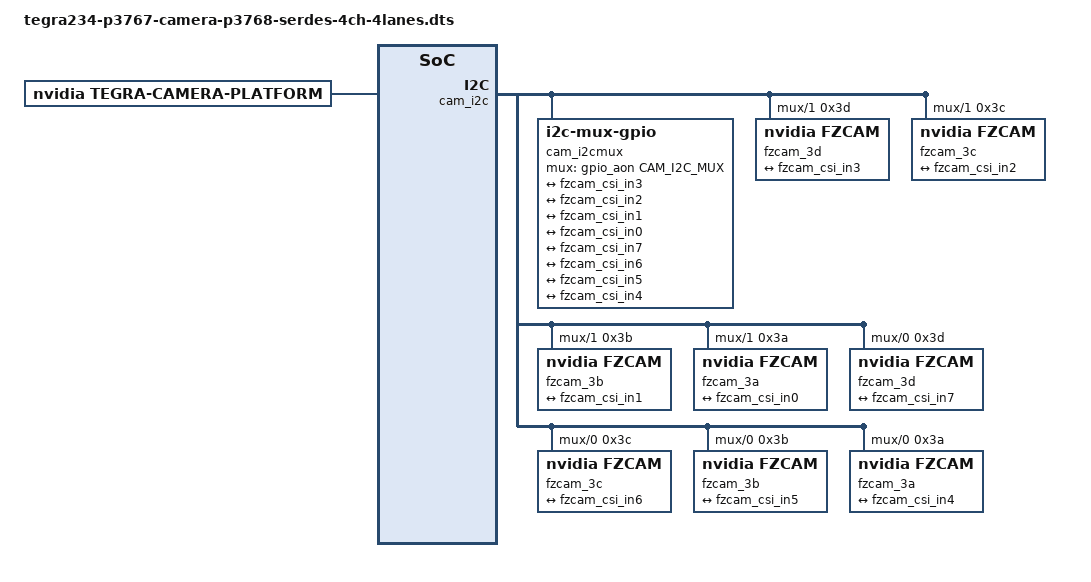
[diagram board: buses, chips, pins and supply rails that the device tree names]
// SPDX-License-Identifier: GPL-2.0-only
// SPDX-FileCopyrightText: Copyright (c) 2023-2024, NVIDIA CORPORATION & AFFILIATES. All rights reserved.

/dts-v1/;
/plugin/;

#include <dt-bindings/clock/tegra234-clock.h>
#include <dt-bindings/gpio/tegra234-gpio.h>
#include <dt-bindings/tegra234-p3767-0000-common.h>

#define CAM0_SYNC	TEGRA234_MAIN_GPIO(H, 6)
#define CAM1_SYNC	TEGRA234_MAIN_GPIO(AC, 0)
#define CAM_I2C_MUX 	TEGRA234_AON_GPIO(CC, 3)

/ {
	overlay-name = "Camera FG-4CH-4Lanes-YUV";
	jetson-header-name = "Jetson 22pin CSI Connector";
	compatible = JETSON_COMPATIBLE_P3768;

	fragment@0 {
		target-path = "/";
		__overlay__ {
			tegra-capture-vi  {
				num-channels = <8>;
				ports {
					#address-cells = <1>;
					#size-cells = <0>;
					vi_port0: port@0 {
						reg = <0>;
						fzcam_vi_in0: endpoint {
							vc-id = <0>;
							port-index = <2>;
							bus-width = <4>;
							remote-endpoint = <&fzcam_csi_out0>;
						};
					};
					vi_port1: port@1 {
						reg = <1>;
						fzcam_vi_in1: endpoint {
							vc-id = <1>;
							port-index = <2>;
							bus-width = <4>;
							remote-endpoint = <&fzcam_csi_out1>;
						};
					};
					vi_port2: port@2 {
						reg = <2>;
						fzcam_vi_in2: endpoint {
							vc-id = <2>;
							port-index = <2>;
							bus-width = <4>;
							remote-endpoint = <&fzcam_csi_out2>;
						};
					};
					vi_port3: port@3 {
						reg = <3>;
						fzcam_vi_in3: endpoint {
							vc-id = <3>;
							port-index = <2>;
							bus-width = <4>;
							remote-endpoint = <&fzcam_csi_out3>;
						};
					};
					vi_port4: port@4 {
						reg = <4>;
						fzcam_vi_in4: endpoint {
							vc-id = <0>;
							port-index = <0>;
							bus-width = <4>;
							remote-endpoint = <&fzcam_csi_out4>;
						};
					};
					vi_port5: port@5 {
						reg = <5>;
						fzcam_vi_in5: endpoint {
							vc-id = <1>;
							port-index = <0>;
							bus-width = <4>;
							remote-endpoint = <&fzcam_csi_out5>;
						};
					};
					vi_port6: port@6 {
						reg = <6>;
						fzcam_vi_in6: endpoint {
							vc-id = <2>;
							port-index = <0>;
							bus-width = <4>;
							remote-endpoint = <&fzcam_csi_out6>;
						};
					};
					vi_port7: port@7 {
						reg = <7>;
						fzcam_vi_in7: endpoint {
							vc-id = <3>;
							port-index = <0>;
							bus-width = <4>;
							remote-endpoint = <&fzcam_csi_out7>;
						};
					};
				};
			};

			tegra-camera-platform {
				status = "okay";
				compatible = "nvidia, tegra-camera-platform";
				num_csi_lanes = <8>;
				max_lane_speed = <1500000>;
				min_bits_per_pixel = <10>;
				vi_peak_byte_per_pixel = <2>;
				vi_bw_margin_pct = <25>;
				max_pixel_rate = <7500000>;
				isp_peak_byte_per_pixel = <5>;
				isp_bw_margin_pct = <25>;

				modules {
					cam_module0: module0 {
						badge = "fz_bottomleft";
						position = "bottomleft";
						orientation = "1";
						cam_module0_drivernode0: drivernode0 {
							pcl_id = "v4l2_sensor";
							sysfs-device-tree = "/sys/firmware/devicetree/base/bus@0/cam_i2cmux/i2c@0/fzcam_3a@3a";
						};
					};
					cam_module1: module1 {
						badge = "fz_centerleft";
						position = "centerleft";
						orientation = "1";
						cam_module1_drivernode0: drivernode0 {
							pcl_id = "v4l2_sensor";
							sysfs-device-tree = "/sys/firmware/devicetree/base/bus@0/cam_i2cmux/i2c@0/fzcam_3b@3b";
						};
					};
					cam_module2: module2 {
						badge = "fz_topleft";
						position = "topleft";
						orientation = "1";
						cam_module2_drivernode0: drivernode0 {
							pcl_id = "v4l2_sensor";
							sysfs-device-tree = "/sys/firmware/devicetree/base/bus@0/cam_i2cmux/i2c@0/fzcam_3c@3c";
						};
					};
					cam_module3: module3 {
						badge = "fz_frontcenter";
						position = "frontcenter";
						orientation = "1";
						cam_module3_drivernode0: drivernode0 {
							pcl_id = "v4l2_sensor";
							sysfs-device-tree = "/sys/firmware/devicetree/base/bus@0/cam_i2cmux/i2c@0/fzcam_3d@3d";
						};
					};
					cam_module4: module4 {
						badge = "fz_bottomright";
						position = "bottomright";
						orientation = "1";
						cam_module4_drivernode0: drivernode0 {
							pcl_id = "v4l2_sensor";
							sysfs-device-tree = "/sys/firmware/devicetree/base/bus@0/cam_i2cmux/i2c@1/fzcam_3a@3a";
						};
					};
					cam_module5: module5 {
						badge = "fz_centerright";
						position = "centerright";
						orientation = "1";
						cam_module5_drivernode0: drivernode0 {
							pcl_id = "v4l2_sensor";
							sysfs-device-tree = "/sys/firmware/devicetree/base/bus@0/cam_i2cmux/i2c@1/fzcam_3b@3b";
						};
					};
					cam_module6: module6 {
						badge = "fz_topright";
						position = "topright";
						orientation = "1";
						cam_module6_drivernode0: drivernode0 {
							pcl_id = "v4l2_sensor";
							sysfs-device-tree = "/sys/firmware/devicetree/base/bus@0/cam_i2cmux/i2c@1/fzcam_3c@3c";
						};
					};
					cam_module7: module7 {
						badge = "fz_rearcenter";
						position = "rearcenter";
						orientation = "1";
						cam_module7_drivernode0: drivernode0 {
							pcl_id = "v4l2_sensor";
							sysfs-device-tree = "/sys/firmware/devicetree/base/bus@0/cam_i2cmux/i2c@1/fzcam_3d@3d";
						};
					};
				};
			};
			bus@0 {
				host1x@13e00000 {
					nvcsi@15a00000 {
						num-channels = <8>;
						#address-cells = <1>;
						#size-cells = <0>;
						csi_chan0: channel@0 {
							reg = <0>;
							ports {
								#address-cells = <1>;
								#size-cells = <0>;
								csi_chan0_port0: port@0 {
									reg = <0>;
									fzcam_csi_in0: endpoint@0 {
										port-index = <2>;
										bus-width = <4>;
										remote-endpoint = <&fzcam_out0>;
									};
								};
								csi_chan0_port1: port@1 {
									reg = <1>;
									fzcam_csi_out0: endpoint@1 {
										remote-endpoint = <&fzcam_vi_in0>;
									};
								};
							};
						};
						csi_chan1: channel@1 {
							reg = <1>;
							ports {
								#address-cells = <1>;
								#size-cells = <0>;
								csi_chan1_port0: port@0 {
									reg = <0>;
									fzcam_csi_in1: endpoint@2 {
										port-index = <2>;
										bus-width = <4>;
										remote-endpoint = <&fzcam_out1>;
									};
								};
								csi_chan1_port1: port@1 {
									reg = <1>;
									fzcam_csi_out1: endpoint@3 {
										remote-endpoint = <&fzcam_vi_in1>;
									};
								};
							};
						};
						csi_chan2: channel@2 {
							reg = <2>;
							ports {
								#address-cells = <1>;
								#size-cells = <0>;
								csi_chan2_port0: port@0 {
									reg = <0>;
									fzcam_csi_in2: endpoint@4 {
										port-index = <2>;
										bus-width = <4>;
										remote-endpoint = <&fzcam_out2>;
									};
								};
								csi_chan2_port1: port@1 {
									reg = <1>;
									fzcam_csi_out2: endpoint@5 {
										remote-endpoint = <&fzcam_vi_in2>;
									};
								};
							};
						};
						csi_chan3: channel@3 {
							reg = <3>;
							ports {
								#address-cells = <1>;
								#size-cells = <0>;
								csi_chan3_port0: port@0 {
									reg = <0>;
									fzcam_csi_in3: endpoint@6 {
										port-index = <2>;
										bus-width = <4>;
										remote-endpoint = <&fzcam_out3>;
									};
								};
								csi_chan3_port1: port@1 {
									reg = <1>;
									fzcam_csi_out3: endpoint@7 {
										remote-endpoint = <&fzcam_vi_in3>;
									};
								};
							};
						};						
						csi_chan4: channel@4 {
							reg = <4>;
							ports {
								#address-cells = <1>;
								#size-cells = <0>;
								csi_chan4_port0: port@0 {
									reg = <0>;
									fzcam_csi_in4: endpoint@8 {
										port-index = <0>;
										bus-width = <4>;
										remote-endpoint = <&fzcam_out4>;
									};
								};
								csi_chan4_port1: port@1 {
									reg = <1>;
									fzcam_csi_out4: endpoint@9 {
										remote-endpoint = <&fzcam_vi_in4>;
									};
								};
							};
						};
						csi_chan5: channel@5 {
							reg = <5>;
							ports {
								#address-cells = <1>;
								#size-cells = <0>;
								csi_chan5_port0: port@0 {
									reg = <0>;
									fzcam_csi_in5: endpoint@10 {
										port-index = <0>;
										bus-width = <4>;
										remote-endpoint = <&fzcam_out5>;
									};
								};
								csi_chan5_port1: port@1 {
									reg = <1>;
									fzcam_csi_out5: endpoint@11 {
										remote-endpoint = <&fzcam_vi_in5>;
									};
								};
							};
						};
						csi_chan6: channel@6 {
							reg = <6>;
							ports {
								#address-cells = <1>;
								#size-cells = <0>;
								csi_chan6_port0: port@0 {
									reg = <0>;
									fzcam_csi_in6: endpoint@10 {
										port-index = <0>;
										bus-width = <4>;
										remote-endpoint = <&fzcam_out6>;
									};
								};
								csi_chan6_port1: port@1 {
									reg = <1>;
									fzcam_csi_out6: endpoint@11 {
										remote-endpoint = <&fzcam_vi_in6>;
									};
								};
							};
						};
						csi_chan7: channel@7 {
							reg = <7>;
							ports {
								#address-cells = <1>;
								#size-cells = <0>;
								csi_chan7_port0: port@0 {
									reg = <0>;
									fzcam_csi_in7: endpoint@10 {
										port-index = <0>;
										bus-width = <4>;
										remote-endpoint = <&fzcam_out7>;
									};
								};
								csi_chan7_port1: port@1 {
									reg = <1>;
									fzcam_csi_out7: endpoint@11 {
										remote-endpoint = <&fzcam_vi_in7>;
									};
								};
							};
						};
					};
				};

				cam_i2cmux {
					compatible = "i2c-mux-gpio";
					#address-cells = <1>;
					#size-cells = <0>;
					i2c-parent = <&cam_i2c>;
					mux-gpios = <&gpio_aon CAM_I2C_MUX GPIO_ACTIVE_HIGH>;

					i2c_1:i2c@1 {
						reg = <1>;
						#address-cells = <1>;
						#size-cells = <0>;

						fzcam_3d@3d {
							compatible = "nvidia,fzcam";
							sensor_model ="fzcam";
							reg = <0x3d>;

							/* Physical dimensions of sensor */
							physical_w = "15.0";
							physical_h = "12.5";

							mode0 {
								mclk_khz = "37125";
								num_lanes = "4";
								tegra_sinterface = "serial_c";
								vc_id  = "3";
								
								discontinuous_clk = "no";
								dpcm_enable = "false";
								cil_settletime = "0";
								csi_pixel_bit_depth = "16";
								mode_type = "yuv";
								pixel_phase = "uyvy";

								active_w = "1920";
								active_h = "1080";
								readout_orientation = "0";
								line_length = "2200";
								inherent_gain = "1";
								
								pix_clk_hz = "74250000";
								serdes_pix_clk_hz = "375000000";
								
								gain_factor = "10";
								min_gain_val = "0"; /* 0dB */
								max_gain_val = "480"; /* 48dB */
								step_gain_val = "3"; /* 0.3 */
								default_gain = "0";

								min_hdr_ratio = "1";
								max_hdr_ratio = "1";

								framerate_factor = "1000000";
								min_framerate = "30000000"; /* 1.5 */
								max_framerate = "30000000"; /* 30 */
								step_framerate = "1";
								default_framerate= "30000000";

								exposure_factor = "1000000";
								min_exp_time = "30"; /* us */
								max_exp_time = "660000"; /* us */
								step_exp_time = "1";
								default_exp_time = "33334";/* us */
								embedded_metadata_height = "0";
							};
							ports {
								#address-cells = <1>;
								#size-cells = <0>;
								port@0 {
									reg = <0>;
									fzcam_out3: endpoint {
										vc-id = <3>;
										port-index = <2>;
										bus-width = <4>;
										remote-endpoint = <&fzcam_csi_in3>;
									};
								};
							};
						};
						fzcam_3c@3c {
							compatible = "nvidia,fzcam";
							sensor_model ="fzcam";
							reg = <0x3c>;

							/* Physical dimensions of sensor */
							physical_w = "15.0";
							physical_h = "12.5";

							mode0 {
								mclk_khz = "37125";
								num_lanes = "4";
								tegra_sinterface = "serial_c";
								vc_id  = "2";
								
								discontinuous_clk = "no";
								dpcm_enable = "false";
								cil_settletime = "0";
								csi_pixel_bit_depth = "16";
								mode_type = "yuv";
								pixel_phase = "uyvy";

								active_w = "1920";
								active_h = "1080";
								readout_orientation = "0";
								line_length = "2200";
								inherent_gain = "1";
								
								pix_clk_hz = "74250000";
								serdes_pix_clk_hz = "375000000";
								
								gain_factor = "10";
								min_gain_val = "0"; /* 0dB */
								max_gain_val = "480"; /* 48dB */
								step_gain_val = "3"; /* 0.3 */
								default_gain = "0";

								min_hdr_ratio = "1";
								max_hdr_ratio = "1";

								framerate_factor = "1000000";
								min_framerate = "30000000"; /* 1.5 */
								max_framerate = "30000000"; /* 30 */
								step_framerate = "1";
								default_framerate= "30000000";

								exposure_factor = "1000000";
								min_exp_time = "30"; /* us */
								max_exp_time = "660000"; /* us */
								step_exp_time = "1";
								default_exp_time = "33334";/* us */
								embedded_metadata_height = "0";
							};
							ports {
								#address-cells = <1>;
								#size-cells = <0>;
								port@0 {
									reg = <0>;
									fzcam_out2: endpoint {
										vc-id = <2>;
										port-index = <2>;
										bus-width = <4>;
										remote-endpoint = <&fzcam_csi_in2>;
									};
								};
							};
						};
						fzcam_3b@3b {
							compatible = "nvidia,fzcam";
							sensor_model ="fzcam";
							reg = <0x3b>;

							/* Physical dimensions of sensor */
							physical_w = "15.0";
							physical_h = "12.5";

							mode0 {
								mclk_khz = "37125";
								num_lanes = "4";
								tegra_sinterface = "serial_c";
								vc_id  = "1";
								
								discontinuous_clk = "no";
								dpcm_enable = "false";
								cil_settletime = "0";
								csi_pixel_bit_depth = "16";
								mode_type = "yuv";
								pixel_phase = "uyvy";

								active_w = "1920";
								active_h = "1080";
								readout_orientation = "0";
								line_length = "2200";
								inherent_gain = "1";
								
								pix_clk_hz = "74250000";
								serdes_pix_clk_hz = "375000000";
								
								gain_factor = "10";
								min_gain_val = "0"; /* 0dB */
								max_gain_val = "480"; /* 48dB */
								step_gain_val = "3"; /* 0.3 */
								default_gain = "0";

								min_hdr_ratio = "1";
								max_hdr_ratio = "1";

								framerate_factor = "1000000";
								min_framerate = "30000000"; /* 1.5 */
								max_framerate = "30000000"; /* 30 */
								step_framerate = "1";
								default_framerate= "30000000";

								exposure_factor = "1000000";
								min_exp_time = "30"; /* us */
								max_exp_time = "660000"; /* us */
								step_exp_time = "1";
								default_exp_time = "33334";/* us */
								embedded_metadata_height = "0";
							};
							ports {
								#address-cells = <1>;
								#size-cells = <0>;
								port@0 {
									reg = <0>;
									fzcam_out1: endpoint {
										vc-id = <1>;
										port-index = <2>;
										bus-width = <4>;
										remote-endpoint = <&fzcam_csi_in1>;
									};
								};
							};
						};
						fzcam_3a@3a {
							compatible = "nvidia,fzcam";
							sensor_model ="fzcam";
							reg = <0x3a>;

							/* Physical dimensions of sensor */
							physical_w = "15.0";
							physical_h = "12.5";
							
							mode0 {
								mclk_khz = "37125";
								num_lanes = "4";
								tegra_sinterface = "serial_c";
								vc_id  = "0";
								
								discontinuous_clk = "no";
								dpcm_enable = "false";
								cil_settletime = "0";
								csi_pixel_bit_depth = "16";
								mode_type = "yuv";
								pixel_phase = "uyvy";

								active_w = "1920";
								active_h = "1080";
								readout_orientation = "0";
								line_length = "2200";
								inherent_gain = "1";
								
								pix_clk_hz = "74250000";
								serdes_pix_clk_hz = "375000000";
								
								gain_factor = "10";
								min_gain_val = "0"; /* 0dB */
								max_gain_val = "480"; /* 48dB */
								step_gain_val = "3"; /* 0.3 */
								default_gain = "0";

								min_hdr_ratio = "1";
								max_hdr_ratio = "1";

								framerate_factor = "1000000";
								min_framerate = "30000000"; /* 1.5 */
								max_framerate = "30000000"; /* 30 */
								step_framerate = "1";
								default_framerate= "30000000";

								exposure_factor = "1000000";
								min_exp_time = "30"; /* us */
								max_exp_time = "660000"; /* us */
								step_exp_time = "1";
								default_exp_time = "33334";/* us */
								embedded_metadata_height = "0";
							};
							ports {
								#address-cells = <1>;
								#size-cells = <0>;
								port@0 {
									reg = <0>;
									fzcam_out0: endpoint {
										vc-id = <0>;
										port-index = <2>;
										bus-width = <4>;
										remote-endpoint = <&fzcam_csi_in0>;
									};
								};
							};
						};
					};
					
					i2c_0:i2c@0 {
						reg = <0>;
						#address-cells = <1>;
						#size-cells = <0>;
						
						fzcam_3d@3d {
							compatible = "nvidia,fzcam";
							sensor_model ="fzcam";
							reg = <0x3d>;

							/* Physical dimensions of sensor */
							physical_w = "15.0";
							physical_h = "12.5";

							mode0 {
								mclk_khz = "37125";
								num_lanes = "4";
								tegra_sinterface = "serial_a";
								lane_polarity = "6";
								vc_id = "3";
								discontinuous_clk = "no";
								dpcm_enable = "false";
								cil_settletime = "0";
								csi_pixel_bit_depth = "16";
								mode_type = "yuv";
								pixel_phase = "uyvy";

								active_w = "1920";
								active_h = "1080";
								readout_orientation = "0";
								line_length = "2200";
								inherent_gain = "1";
								pix_clk_hz = "74250000";
								serdes_pix_clk_hz = "375000000";

								gain_factor = "10";
								min_gain_val = "0"; /* 0dB */
								max_gain_val = "480"; /* 48dB */
								step_gain_val = "3"; /* 0.3 */
								default_gain = "0";

								min_hdr_ratio = "1";
								max_hdr_ratio = "1";

								framerate_factor = "1000000";
								min_framerate = "30000000"; /* 1.5 */
								max_framerate = "30000000"; /* 30 */
								step_framerate = "1";
								default_framerate= "30000000";

								exposure_factor = "1000000";
								min_exp_time = "30"; /* us */
								max_exp_time = "660000"; /* us */
								step_exp_time = "1";
								default_exp_time = "33334";/* us */
								embedded_metadata_height = "0";
							};
							ports {
								#address-cells = <1>;
								#size-cells = <0>;
								port@0 {
									reg = <0>;
									fzcam_out7: endpoint {
										vc-id = <3>;
										port-index = <0>;
										bus-width = <4>;
										remote-endpoint = <&fzcam_csi_in7>;
									};
								};
							};
						};
						fzcam_3c@3c {
							compatible = "nvidia,fzcam";
							sensor_model ="fzcam";
							reg = <0x3c>;

							/* Physical dimensions of sensor */
							physical_w = "15.0";
							physical_h = "12.5";
							
							mode0 {
								mclk_khz = "37125";
								num_lanes = "4";
								tegra_sinterface = "serial_a";
								lane_polarity = "6";
								vc_id = "2";
								
								discontinuous_clk = "no";
								dpcm_enable = "false";
								cil_settletime = "0";
								csi_pixel_bit_depth = "16";
								mode_type = "yuv";
								pixel_phase = "uyvy";

								active_w = "1920";
								active_h = "1080";
								readout_orientation = "0";
								line_length = "2200";
								inherent_gain = "1";
								
								pix_clk_hz = "74250000";
								serdes_pix_clk_hz = "375000000";
								
								gain_factor = "10";
								min_gain_val = "0"; /* 0dB */
								max_gain_val = "480"; /* 48dB */
								step_gain_val = "3"; /* 0.3 */
								default_gain = "0";

								min_hdr_ratio = "1";
								max_hdr_ratio = "1";

								framerate_factor = "1000000";
								min_framerate = "30000000"; /* 1.5 */
								max_framerate = "30000000"; /* 30 */
								step_framerate = "1";
								default_framerate= "30000000";

								exposure_factor = "1000000";
								min_exp_time = "30"; /* us */
								max_exp_time = "660000"; /* us */
								step_exp_time = "1";
								default_exp_time = "33334";/* us */
								embedded_metadata_height = "0";
							};
							ports {
								#address-cells = <1>;
								#size-cells = <0>;
								port@0 {
									reg = <0>;
									fzcam_out6: endpoint {
										vc-id = <2>;
										port-index = <0>;
										bus-width = <4>;
										remote-endpoint = <&fzcam_csi_in6>;
									};
								};
							};
						};
						fzcam_3b@3b {
							compatible = "nvidia,fzcam";
							sensor_model ="fzcam";
							reg = <0x3b>;

							/* Physical dimensions of sensor */
							physical_w = "15.0";
							physical_h = "12.5";
							
							mode0 {
								mclk_khz = "37125";
								num_lanes = "4";
								tegra_sinterface = "serial_a";
								lane_polarity = "6";
								vc_id = "1";
								
								discontinuous_clk = "no";
								dpcm_enable = "false";
								cil_settletime = "0";
								csi_pixel_bit_depth = "16";
								mode_type = "yuv";
								pixel_phase = "uyvy";

								active_w = "1920";
								active_h = "1080";
								readout_orientation = "0";
								line_length = "2200";
								inherent_gain = "1";
								
								pix_clk_hz = "74250000";
								serdes_pix_clk_hz = "375000000";
								
								gain_factor = "10";
								min_gain_val = "0"; /* 0dB */
								max_gain_val = "480"; /* 48dB */
								step_gain_val = "3"; /* 0.3 */
								default_gain = "0";

								min_hdr_ratio = "1";
								max_hdr_ratio = "1";

								framerate_factor = "1000000";
								min_framerate = "30000000"; /* 1.5 */
								max_framerate = "30000000"; /* 30 */
								step_framerate = "1";
								default_framerate= "30000000";

								exposure_factor = "1000000";
								min_exp_time = "30"; /* us */
								max_exp_time = "660000"; /* us */
								step_exp_time = "1";
								default_exp_time = "33334";/* us */
								embedded_metadata_height = "0";
							};
							ports {
								#address-cells = <1>;
								#size-cells = <0>;
								port@0 {
									reg = <0>;
									fzcam_out5: endpoint {
										vc-id = <1>;
										port-index = <0>;
										bus-width = <4>;
										remote-endpoint = <&fzcam_csi_in5>;
									};
								};
							};
						};
						fzcam_3a@3a {
							compatible = "nvidia,fzcam";
							sensor_model ="fzcam";
							reg = <0x3a>;

							/* Physical dimensions of sensor */
							physical_w = "15.0";
							physical_h = "12.5";
							
							mode0 {
								mclk_khz = "37125";
								num_lanes = "4";
								tegra_sinterface = "serial_a";
								lane_polarity = "6";
								vc_id = "0";
								
								discontinuous_clk = "no";
								dpcm_enable = "false";
								cil_settletime = "0";
								csi_pixel_bit_depth = "16";
								mode_type = "yuv";
								pixel_phase = "uyvy";

								active_w = "1920";
								active_h = "1080";
								readout_orientation = "0";
								line_length = "2200";
								inherent_gain = "1";
								
								pix_clk_hz = "74250000";
								serdes_pix_clk_hz = "375000000";
								
								gain_factor = "10";
								min_gain_val = "0"; /* 0dB */
								max_gain_val = "480"; /* 48dB */
								step_gain_val = "3"; /* 0.3 */
								default_gain = "0";

								min_hdr_ratio = "1";
								max_hdr_ratio = "1";

								framerate_factor = "1000000";
								min_framerate = "30000000"; /* 1.5 */
								max_framerate = "30000000"; /* 30 */
								step_framerate = "1";
								default_framerate= "30000000";

								exposure_factor = "1000000";
								min_exp_time = "30"; /* us */
								max_exp_time = "660000"; /* us */
								step_exp_time = "1";
								default_exp_time = "33334";/* us */
								embedded_metadata_height = "0";
							};
							ports {
								#address-cells = <1>;
								#size-cells = <0>;
								port@0 {
									reg = <0>;
									fzcam_out4: endpoint {
										vc-id = <0>;
										port-index = <0>;
										bus-width = <4>;
										remote-endpoint = <&fzcam_csi_in4>;
									};
								};
							};
						};
					};
				};
			};
		};
	};
};
